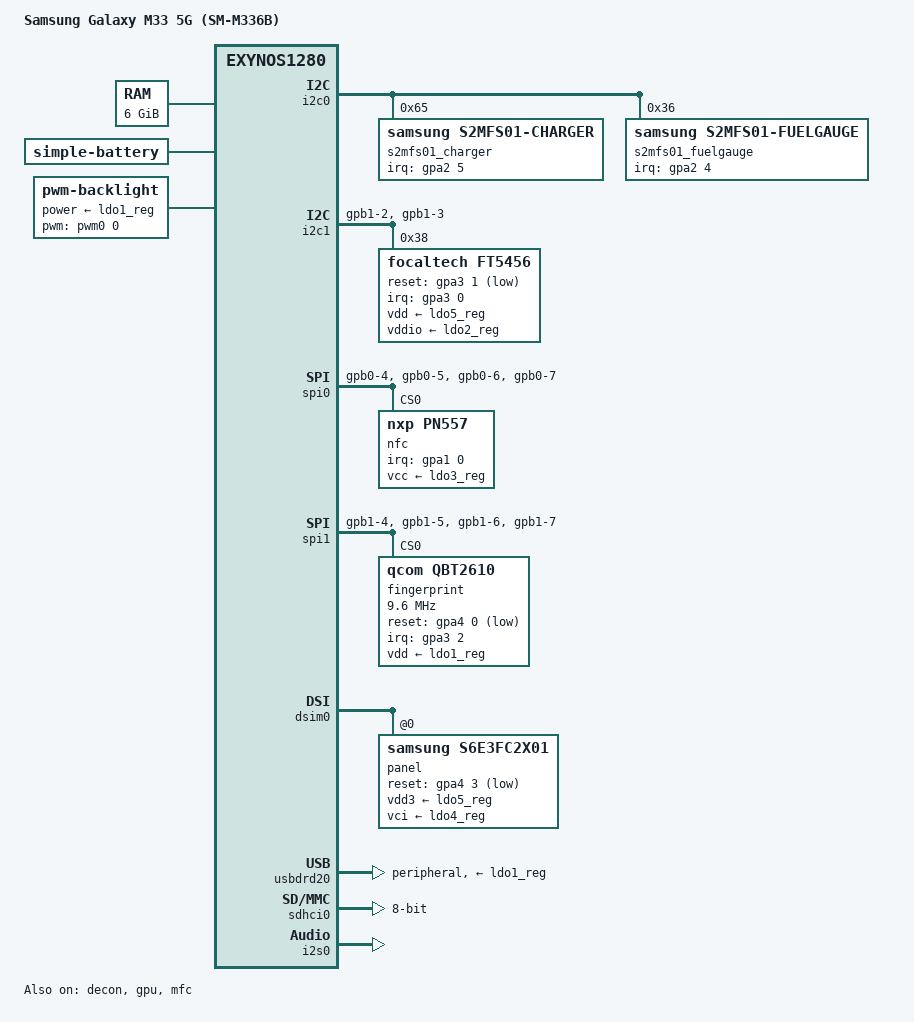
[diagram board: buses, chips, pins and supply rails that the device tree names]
// SPDX-License-Identifier: GPL-2.0
/*
 * Samsung Exynos 1280 - Galaxy M33 5G (SM-M336B)
 *
 * Copyright (C) 2024 Samsung Electronics Co., Ltd.
 */

/dts-v1/;

#include "exynos1280.dtsi"

/ {
	model = "Samsung Galaxy M33 5G (SM-M336B)";
	compatible = "samsung,exynos1280-m33x", "samsung,exynos1280";

	chosen {
		bootargs = "console=ttyS0,115200n8 androidboot.console=ttyS0";
	};

	memory@0 {
		device_type = "memory";
		reg = <0x0 0x0 0x0 0x180000000>;
	};

	firmware {
		s2mps34_pmic@66 {
			compatible = "samsung,s2mps34-pmic";
			reg = <0x66>;

			rtc {
				compatible = "samsung,s2mps34-rtc";
			};

			regulators {
				buck1_reg: buck1 {
					regulator-name = "vdd_mif";
					regulator-min-microvolt = <600000>;
					regulator-max-microvolt = <1100000>;
					regulator-always-on;
				};

				buck2_reg: buck2 {
					regulator-name = "vdd_cpu";
					regulator-min-microvolt = <575000>;
					regulator-max-microvolt = <1050000>;
					regulator-always-on;
				};

				buck3_reg: buck3 {
					regulator-name = "vdd_int";
					regulator-min-microvolt = <500000>;
					regulator-max-microvolt = <1100000>;
					regulator-always-on;
				};

				buck4_reg: buck4 {
					regulator-name = "vdd_batt";
					regulator-min-microvolt = <3400000>;
					regulator-max-microvolt = <4350000>;
					regulator-always-on;
					regulator-boot-on;
				};

				ldo1_reg: ldo1 {
					regulator-name = "vdd_aud";
					regulator-min-microvolt = <1800000>;
					regulator-max-microvolt = <1800000>;
				};

				ldo2_reg: ldo2 {
					regulator-name = "vddio_ap";
					regulator-min-microvolt = <1800000>;
					regulator-max-microvolt = <1800000>;
				};

				ldo3_reg: ldo3 {
					regulator-name = "vddio_nfc";
					regulator-min-microvolt = <1800000>;
					regulator-max-microvolt = <1800000>;
				};

				ldo4_reg: ldo4 {
					regulator-name = "vdd_cam";
					regulator-min-microvolt = <2800000>;
					regulator-max-microvolt = <2800000>;
				};

				ldo5_reg: ldo5 {
					regulator-name = "vdd_touch";
					regulator-min-microvolt = <2800000>;
					regulator-max-microvolt = <3300000>;
				};

				ldo6_reg: ldo6 {
					regulator-name = "vdd_batt_capacity";
					regulator-min-microvolt = <3400000>;
					regulator-max-microvolt = <4350000>;
				};
			};
		};
	};

	battery {
		compatible = "simple-battery";
		voltage-min-design-microvolt = <3400000>;
		voltage-max-design-microvolt = <4350000>;
		energy-full-design-microwatt-hours = <25920000>;
		charge-full-design-microamp-hours = <6000000>;
	};
};

&i2c0 {
	status = "okay";

	s2mfs01_charger@65 {
		compatible = "samsung,s2mfs01-charger";
		reg = <0x65>;
		pinctrl-names = "default";
		pinctrl-0 = <&s2mfs01_int>;
		interrupt-parent = <&gpa2>;
		interrupts = <5 IRQ_TYPE_LEVEL_LOW>;
		monitor-voltage = <4200000>;
		monitor-curr = <2000000>;
		fuel-gauge-i2c = <&i2c0 0x36>;
	};

	s2mfs01_fuelgauge@36 {
		compatible = "samsung,s2mfs01-fuelgauge";
		reg = <0x36>;
		pinctrl-names = "default";
		pinctrl-0 = <&s2mfs01_alert>;
		interrupt-parent = <&gpa2>;
		interrupts = <4 IRQ_TYPE_LEVEL_LOW>;
	};
};

&i2c1 {
	status = "okay";
	pinctrl-names = "default";
	pinctrl-0 = <&i2c1_bus>;

	focaltech@38 {
		compatible = "focaltech,ft5456";
		reg = <0x38>;
		interrupt-parent = <&gpa3>;
		interrupts = <0 IRQ_TYPE_EDGE_FALLING>;
		pinctrl-names = "default";
		pinctrl-0 = <&touch_int>;
		reset-gpios = <&gpa3 1 GPIO_ACTIVE_LOW>;
		vdd-supply = <&ldo5_reg>;
		vddio-supply = <&ldo2_reg>;
		focaltech,display-x = <1080>;
		focaltech,display-y = <2408>;
	};
};

&spi0 {
	status = "okay";
	pinctrl-names = "default";
	pinctrl-0 = <&spi0_bus>;

	nfc@0 {
		compatible = "nxp,pn557";
		reg = <0>;
		interrupt-parent = <&gpa1>;
		interrupts = <0 IRQ_TYPE_EDGE_RISING>;
		pinctrl-names = "default";
		pinctrl-0 = <&nfc_int>;
		vcc-supply = <&ldo3_reg>;
	};
};

&spi1 {
	status = "okay";
	pinctrl-names = "default";
	pinctrl-0 = <&spi1_bus>;

	fingerprint@0 {
		compatible = "qcom,qbt2610";
		reg = <0>;
		interrupt-parent = <&gpa3>;
		interrupts = <2 IRQ_TYPE_EDGE_RISING>;
		pinctrl-names = "default";
		pinctrl-0 = <&fp_int>;
		vdd-supply = <&ldo1_reg>;
		reset-gpios = <&gpa4 0 GPIO_ACTIVE_LOW>;
		spi-max-frequency = <9600000>;
	};
};

&decon {
	status = "okay";

	dsim0 {
		status = "okay";

		panel@0 {
			compatible = "samsung,s6e3fc2x01";
			reg = <0>;
			reset-gpios = <&gpa4 3 GPIO_ACTIVE_LOW>;
			vdd3-supply = <&ldo5_reg>;
			vci-supply = <&ldo4_reg>;
			init-sequence = /bits/ 8 <0x11 0x00 0x28 0x00>;
			width-mm = <70>;
			height-mm = <148>;
			orientation;

			display-timings {
				native-mode = <&timing0>;

				timing0: timing0 {
					clock-frequency = <140000000>;
					hactive = <1080>;
					vactive = <2408>;
					hfront-porch = <20>;
					hback-porch = <20>;
					hsync-len = <4>;
					vfront-porch = <16>;
					vback-porch = <16>;
					vsync-len = <4>;
				};
			};
		};
	};

	backlight {
		compatible = "pwm-backlight";
		power-supply = <&ldo1_reg>;
		brightness-levels = <0 255>;
		default-brightness-level = <128>;
		pwms = <&pwm0 0 1000000>;
	};
};

&usbdrd20 {
	status = "okay";
	vbus-supply = <&ldo1_reg>;
	dr_mode = "peripheral";
};

&sdhci0 {
	status = "okay";
	bus-width = <8>;
	mmc-hs400-1_8v;
	mmc-hs400-enhanced-strobe;
	disable-wp;
	cap-mmc-highspeed;
	broken-cd;
};

&sdhci2 {
	status = "disabled";
};

&gpu {
	status = "okay";
	clocks = <&clock CLK_GPU>;
	clock-names = "core";
};

&mfc {
	status = "okay";
};

&i2s0 {
	status = "okay";
};

&pinctrl0 {
	touch {
		touch_int: touch-int {
			pins = "gpa3-0";
			function = "ext_interrupt";
			bias-pull-up;
			drive-strength = <0>;
		};
	};

	nfc {
		nfc_int: nfc-int {
			pins = "gpa1-0";
			function = "ext_interrupt";
			bias-pull-up;
			drive-strength = <0>;
		};
	};

	fingerprint {
		fp_int: fp-int {
			pins = "gpa3-2";
			function = "ext_interrupt";
			bias-pull-up;
			drive-strength = <0>;
		};
	};

	charger {
		s2mfs01_int: s2mfs01-int {
			pins = "gpa2-5";
			function = "ext_interrupt";
			bias-pull-up;
			drive-strength = <0>;
		};

		s2mfs01_alert: s2mfs01-alert {
			pins = "gpa2-4";
			function = "ext_interrupt";
			bias-pull-up;
			drive-strength = <0>;
		};
	};

	uart0 {
		uart0_data: uart0-data {
			pins = "gpb0-0", "gpb0-1";
			function = "uart0";
			drive-strength = <2>;
			bias-pull-up;
		};

		uart0_ctrl: uart0-ctrl {
			pins = "gpb0-2", "gpb0-3";
			function = "uart0";
			drive-strength = <2>;
			bias-pull-up;
		};
	};

	i2c0 {
		i2c0_bus: i2c0-bus {
			pins = "gpb1-0", "gpb1-1";
			function = "i2c0";
			drive-strength = <2>;
			bias-pull-up;
		};
	};

	i2c1 {
		i2c1_bus: i2c1-bus {
			pins = "gpb1-2", "gpb1-3";
			function = "i2c1";
			drive-strength = <2>;
			bias-pull-up;
		};
	};

	spi0 {
		spi0_bus: spi0-bus {
			pins = "gpb0-4", "gpb0-5", "gpb0-6", "gpb0-7";
			function = "spi0";
			drive-strength = <2>;
			bias-pull-up;
		};
	};

	spi1 {
		spi1_bus: spi1-bus {
			pins = "gpb1-4", "gpb1-5", "gpb1-6", "gpb1-7";
			function = "spi1";
			drive-strength = <2>;
			bias-pull-up;
		};
	};

	sdmmc0 {
		sd0_clk: sd0-clk {
			pins = "gpc0-0";
			function = "sd0_clk";
			drive-strength = <2>;
			bias-pull-up;
		};

		sd0_cmd: sd0-cmd {
			pins = "gpc0-1";
			function = "sd0_cmd";
			drive-strength = <2>;
			bias-pull-up;
		};

		sd0_bus: sd0-bus {
			pins = "gpc0-2", "gpc0-3", "gpc0-4",
			       "gpc0-5", "gpc0-6", "gpc0-7",
			       "gpc0-8", "gpc0-9";
			function = "sd0_bus";
			drive-strength = <2>;
			bias-pull-up;
		};
	};
};
